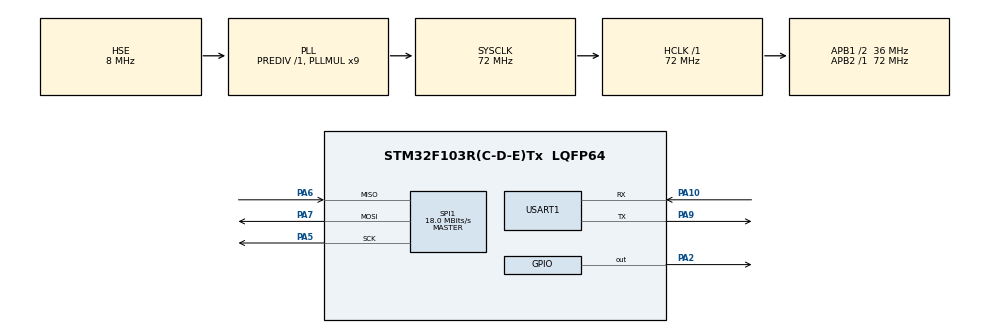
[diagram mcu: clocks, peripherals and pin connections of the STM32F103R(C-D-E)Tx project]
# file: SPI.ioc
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Mcu.Family=STM32F1
Mcu.Name=STM32F103R(C-D-E)Tx
Mcu.Package=LQFP64
NVIC.PriorityGroup=NVIC_PRIORITYGROUP_4
PA10.Mode=Asynchronous
PA10.Signal=USART1_RX
PA13.Mode=Serial_Wire
PA13.Signal=SYS_JTMS-SWDIO
PA14.Mode=Serial_Wire
PA14.Signal=SYS_JTCK-SWCLK
PA2.GPIO_PuPd=GPIO_PULLUP
PA2.Signal=GPIO_Output
PA5.Mode=Full_Duplex_Master
PA5.Signal=SPI1_SCK
PA6.Mode=Full_Duplex_Master
PA6.Signal=SPI1_MISO
PA7.Mode=Full_Duplex_Master
PA7.Signal=SPI1_MOSI
PA9.Mode=Asynchronous
PA9.Signal=USART1_TX
PD0-OSC_IN.Mode=HSE-External-Oscillator
PD0-OSC_IN.Signal=RCC_OSC_IN
PD1-OSC_OUT.Mode=HSE-External-Oscillator
PD1-OSC_OUT.Signal=RCC_OSC_OUT
ProjectManager.HeapSize=0x200
ProjectManager.StackSize=0x400
ProjectManager.TargetToolchain=MDK-ARM V5.27
RCC.AHBFreq_Value=72000000
RCC.APB1CLKDivider=RCC_HCLK_DIV2
RCC.APB1Freq_Value=36000000
RCC.APB1TimFreq_Value=72000000
RCC.APB2Freq_Value=72000000
RCC.APB2TimFreq_Value=72000000
RCC.HCLKFreq_Value=72000000
RCC.PLLMUL=RCC_PLL_MUL9
RCC.PLLSourceVirtual=RCC_PLLSOURCE_HSE
RCC.SYSCLKFreq_VALUE=72000000
RCC.SYSCLKSource=RCC_SYSCLKSOURCE_PLLCLK
RCC.USBFreq_Value=72000000
SPI1.BaudRatePrescaler=SPI_BAUDRATEPRESCALER_4
SPI1.CLKPhase=SPI_PHASE_2EDGE
SPI1.CLKPolarity=SPI_POLARITY_HIGH
SPI1.CalculateBaudRate=18.0 MBits/s
SPI1.Direction=SPI_DIRECTION_2LINES
SPI1.Mode=SPI_MODE_MASTER
SPI1.VirtualType=VM_MASTER
USART1.VirtualMode=VM_ASYNC
board=custom

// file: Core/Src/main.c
/* USER CODE BEGIN Header */
/**
  ******************************************************************************
  * @file           : main.c
  * @brief          : Main program body
  ******************************************************************************
  * @attention
  *
  * <h2><center>&copy; Copyright (c) 2025 STMicroelectronics.
  * All rights reserved.</center></h2>
  *
  * This software component is licensed by ST under BSD 3-Clause license,
  * the "License"; You may not use this file except in compliance with the
  * License. You may obtain a copy of the License at:
  *                        opensource.org/licenses/BSD-3-Clause
  *
  ******************************************************************************
  */
/* USER CODE END Header */
#include "main.h"
#include "spi.h"
#include "usart.h"
#include "gpio.h"

/* USER CODE BEGIN PV */

uint16_t device_id;
uint8_t read_buf[10] = {0};
uint8_t write_buf[10] = {0};
int i;

/* USER CODE END PV */

void SystemClock_Config(void);

int main(void)
{

  /* MCU Configuration--------------------------------------------------------*/

  /* Reset of all peripherals, Initializes the Flash interface and the Systick. */
  HAL_Init();

  /* Configure the system clock */
  SystemClock_Config();

  /* Initialize all configured peripherals */
  MX_GPIO_Init();
  MX_SPI1_Init();
  MX_USART1_UART_Init();
  /* USER CODE BEGIN 2 */

	device_id = W25QXX_ReadID();
  printf("W25Q64 Device ID is 0x%04x\r\n", device_id);

  /* 为了验证，首先读取要写入地址处的数据 */
  printf("-------- read data before write -----------\r\n");
  W25QXX_Read(read_buf, 0, 10);

  for(i = 0; i < 10; i++)
  {
    printf("[0x%08x]:0x%02x\r\n", i, *(read_buf+i));
  }

  /* 擦除该扇区 */
  printf("-------- erase sector 0 -----------\r\n");
  W25QXX_Erase_Sector(0);

  /* 再次读数据 */
  printf("-------- read data after erase -----------\r\n");
  W25QXX_Read(read_buf, 0, 10);
  for(i = 0; i < 10; i++)
  {
    printf("[0x%08x]:0x%02x\r\n", i, *(read_buf+i));
  }

  /* 写数据 */
  printf("-------- write data -----------\r\n");
  for(i = 0; i < 10; i++)
  {
    write_buf[i] = i;
  }
  W25QXX_Page_Program(write_buf, 0, 10);

  /* 再次读数据 */
  printf("-------- read data after write -----------\r\n");
  W25QXX_Read(read_buf, 0, 10);
  for(i = 0; i < 10; i++)
  {
    printf("[0x%08x]:0x%02x\r\n", i, *(read_buf+i));
  }

  /* USER CODE END 2 */

  /* Infinite loop */
  while (1)
  {

  }
}

void SystemClock_Config(void)
{
  RCC_OscInitTypeDef RCC_OscInitStruct = {0};
  RCC_ClkInitTypeDef RCC_ClkInitStruct = {0};

  /** Initializes the RCC Oscillators according to the specified parameters
  * in the RCC_OscInitTypeDef structure.
  */
  RCC_OscInitStruct.OscillatorType = RCC_OSCILLATORTYPE_HSE;
  RCC_OscInitStruct.HSEState = RCC_HSE_ON;
  RCC_OscInitStruct.HSEPredivValue = RCC_HSE_PREDIV_DIV1;
  RCC_OscInitStruct.HSIState = RCC_HSI_ON;
  RCC_OscInitStruct.PLL.PLLState = RCC_PLL_ON;
  RCC_OscInitStruct.PLL.PLLSource = RCC_PLLSOURCE_HSE;
  RCC_OscInitStruct.PLL.PLLMUL = RCC_PLL_MUL9;
  if (HAL_RCC_OscConfig(&RCC_OscInitStruct) != HAL_OK)
  {
    Error_Handler();
  }
  /** Initializes the CPU, AHB and APB buses clocks
  */
  RCC_ClkInitStruct.ClockType = RCC_CLOCKTYPE_HCLK|RCC_CLOCKTYPE_SYSCLK
                              |RCC_CLOCKTYPE_PCLK1|RCC_CLOCKTYPE_PCLK2;
  RCC_ClkInitStruct.SYSCLKSource = RCC_SYSCLKSOURCE_PLLCLK;
  RCC_ClkInitStruct.AHBCLKDivider = RCC_SYSCLK_DIV1;
  RCC_ClkInitStruct.APB1CLKDivider = RCC_HCLK_DIV2;
  RCC_ClkInitStruct.APB2CLKDivider = RCC_HCLK_DIV1;

  if (HAL_RCC_ClockConfig(&RCC_ClkInitStruct, FLASH_LATENCY_2) != HAL_OK)
  {
    Error_Handler();
  }
}

void Error_Handler(void)
{
  __disable_irq();
  while (1)
  {
  }
}

/************************ (C) COPYRIGHT STMicroelectronics *****END OF FILE****/
